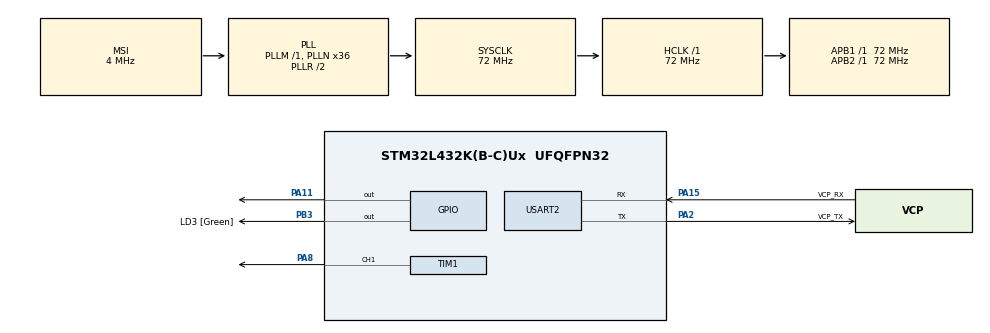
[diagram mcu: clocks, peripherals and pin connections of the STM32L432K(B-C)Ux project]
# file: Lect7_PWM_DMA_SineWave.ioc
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Dma.Request0=TIM1_CH1
Dma.TIM1_CH1.0.Direction=DMA_MEMORY_TO_PERIPH
Dma.TIM1_CH1.0.Instance=DMA1_Channel2
Dma.TIM1_CH1.0.MemDataAlignment=DMA_MDATAALIGN_WORD
Dma.TIM1_CH1.0.MemInc=DMA_MINC_ENABLE
Dma.TIM1_CH1.0.Mode=DMA_CIRCULAR
Dma.TIM1_CH1.0.PeriphDataAlignment=DMA_PDATAALIGN_WORD
Dma.TIM1_CH1.0.PeriphInc=DMA_PINC_DISABLE
Dma.TIM1_CH1.0.Priority=DMA_PRIORITY_HIGH
Mcu.Family=STM32L4
Mcu.Name=STM32L432K(B-C)Ux
Mcu.Package=UFQFPN32
NVIC.DMA1_Channel2_IRQn=true\:0\:0\:false\:false\:true\:false\:true
NVIC.PriorityGroup=NVIC_PRIORITYGROUP_4
PA0.GPIO_Label=MCO [High speed clock in]
PA0.Mode=HSE-External-Clock-Source-for-LittleOrca
PA0.Signal=RCC_CK_IN
PA11.Signal=GPIO_Output
PA13\ (JTMS-SWDIO).GPIO_Label=SWDIO
PA13\ (JTMS-SWDIO).Mode=Serial_Wire
PA13\ (JTMS-SWDIO).Signal=SYS_JTMS-SWDIO
PA14\ (JTCK-SWCLK).GPIO_Label=SWCLK
PA14\ (JTCK-SWCLK).Mode=Serial_Wire
PA14\ (JTCK-SWCLK).Signal=SYS_JTCK-SWCLK
PA15\ (JTDI).GPIO_Label=VCP_RX
PA15\ (JTDI).Mode=Asynchronous
PA15\ (JTDI).Signal=USART2_RX
PA2.GPIO_Label=VCP_TX
PA2.Mode=Asynchronous
PA2.Signal=USART2_TX
PA8.Signal=S_TIM1_CH1
PB3\ (JTDO-TRACESWO).GPIO_Label=LD3 [Green]
PB3\ (JTDO-TRACESWO).Signal=GPIO_Output
PC14-OSC32_IN\ (PC14).Mode=LSE-External-Oscillator
PC14-OSC32_IN\ (PC14).Signal=RCC_OSC32_IN
PC15-OSC32_OUT\ (PC15).Mode=LSE-External-Oscillator
PC15-OSC32_OUT\ (PC15).Signal=RCC_OSC32_OUT
ProjectManager.HeapSize=0x200
ProjectManager.StackSize=0x400
ProjectManager.TargetToolchain=STM32CubeIDE
RCC.AHBFreq_Value=72000000
RCC.APB1Freq_Value=72000000
RCC.APB1TimFreq_Value=72000000
RCC.APB2Freq_Value=72000000
RCC.APB2TimFreq_Value=72000000
RCC.CortexFreq_Value=72000000
RCC.HCLKFreq_Value=72000000
RCC.HSE_VALUE=8000000
RCC.HSI16_VALUE=16000000
RCC.HSI48_VALUE=48000000
RCC.HSI_VALUE=16000000
RCC.MSI_VALUE=4000000
RCC.PLLMUL=RCC_PLLMUL_4
RCC.PLLN=36
RCC.SYSCLKFreq_VALUE=72000000
RCC.SYSCLKSource=RCC_SYSCLKSOURCE_PLLCLK
RCC.VCOOutputFreq_Value=144000000
SH.S_TIM1_CH1.0=TIM1_CH1,PWM Generation1 CH1
TIM1.Channel-PWM\ Generation1\ CH1=TIM_CHANNEL_1
TIM1.Period=1023
TIM1.Pulse-PWM\ Generation1\ CH1=511
USART2.VirtualMode-Asynchronous=VM_ASYNC
VP_TIM1_VS_ClockSourceINT.Mode=Internal
board=NUCLEO-L432KC

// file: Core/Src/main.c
/* USER CODE BEGIN Header */
/**
  ******************************************************************************
  * @file           : main.c
  * @brief          : Main program body
  ******************************************************************************
  * @attention
  *
  * <h2><center>&copy; Copyright (c) 2020 STMicroelectronics.
  * All rights reserved.</center></h2>
  *
  * This software component is licensed by ST under BSD 3-Clause license,
  * the "License"; You may not use this file except in compliance with the
  * License. You may obtain a copy of the License at:
  *                        opensource.org/licenses/BSD-3-Clause
  *
  ******************************************************************************
  */
/* USER CODE END Header */
#include "main.h"

/* USER CODE BEGIN PD */
#define NS 128
/* USER CODE END PD */

TIM_HandleTypeDef htim1;
DMA_HandleTypeDef hdma_tim1_ch1;

UART_HandleTypeDef huart2;

/* USER CODE BEGIN PV */
uint32_t Wave_LUT[NS] = {
	512, 537, 562, 587, 612, 637, 661, 685, 709, 732, 754, 776, 798, 818, 838,
	857, 875, 893, 909, 925, 939, 952, 965, 976, 986, 995, 1002, 1009, 1014, 1018,
	1021, 1023, 1023, 1022, 1020, 1016, 1012, 1006, 999, 990, 981, 970, 959, 946, 932,
	917, 901, 884, 866, 848, 828, 808, 787, 765, 743, 720, 697, 673, 649, 624,
	600, 575, 549, 524, 499, 474, 448, 423, 399, 374, 350, 326, 303, 280, 258,
	236, 215, 195, 175, 157, 139, 122, 106, 91, 77, 64, 53, 42, 33, 24,
	17, 11, 7, 3, 1, 0, 0, 2, 5, 9, 14, 21, 28, 37, 47,
	58, 71, 84, 98, 114, 130, 148, 166, 185, 205, 225, 247, 269, 291, 314,
	338, 362, 386, 411, 436, 461, 486, 511
};

/* USER CODE END PV */

void SystemClock_Config(void);
static void MX_GPIO_Init(void);
static void MX_DMA_Init(void);
static void MX_USART2_UART_Init(void);
static void MX_TIM1_Init(void);

int main(void)
{

  /* MCU Configuration--------------------------------------------------------*/

  /* Reset of all peripherals, Initializes the Flash interface and the Systick. */
  HAL_Init();

  /* Configure the system clock */
  SystemClock_Config();

  /* Initialize all configured peripherals */
  MX_GPIO_Init();
  MX_DMA_Init();
  MX_USART2_UART_Init();
  MX_TIM1_Init();
  /* USER CODE BEGIN 2 */
//  HAL_TIM_PWM_Start(&htim1, TIM_CHANNEL_1);
  HAL_TIM_PWM_Start_DMA(&htim1,  TIM_CHANNEL_1, (uint32_t *)Wave_LUT,NS);

  /* USER CODE END 2 */

  /* Infinite loop */
  while (1)
  {

  }
}

void SystemClock_Config(void)
{
  RCC_OscInitTypeDef RCC_OscInitStruct = {0};
  RCC_ClkInitTypeDef RCC_ClkInitStruct = {0};
  RCC_PeriphCLKInitTypeDef PeriphClkInit = {0};

  /** Configure LSE Drive Capability
  */
  HAL_PWR_EnableBkUpAccess();
  __HAL_RCC_LSEDRIVE_CONFIG(RCC_LSEDRIVE_LOW);
  /** Initializes the RCC Oscillators according to the specified parameters
  * in the RCC_OscInitTypeDef structure.
  */
  RCC_OscInitStruct.OscillatorType = RCC_OSCILLATORTYPE_LSE|RCC_OSCILLATORTYPE_MSI;
  RCC_OscInitStruct.LSEState = RCC_LSE_ON;
  RCC_OscInitStruct.MSIState = RCC_MSI_ON;
  RCC_OscInitStruct.MSICalibrationValue = 0;
  RCC_OscInitStruct.MSIClockRange = RCC_MSIRANGE_6;
  RCC_OscInitStruct.PLL.PLLState = RCC_PLL_ON;
  RCC_OscInitStruct.PLL.PLLSource = RCC_PLLSOURCE_MSI;
  RCC_OscInitStruct.PLL.PLLM = 1;
  RCC_OscInitStruct.PLL.PLLN = 36;
  RCC_OscInitStruct.PLL.PLLP = RCC_PLLP_DIV7;
  RCC_OscInitStruct.PLL.PLLQ = RCC_PLLQ_DIV2;
  RCC_OscInitStruct.PLL.PLLR = RCC_PLLR_DIV2;
  if (HAL_RCC_OscConfig(&RCC_OscInitStruct) != HAL_OK)
  {
    Error_Handler();
  }
  /** Initializes the CPU, AHB and APB buses clocks
  */
  RCC_ClkInitStruct.ClockType = RCC_CLOCKTYPE_HCLK|RCC_CLOCKTYPE_SYSCLK
                              |RCC_CLOCKTYPE_PCLK1|RCC_CLOCKTYPE_PCLK2;
  RCC_ClkInitStruct.SYSCLKSource = RCC_SYSCLKSOURCE_PLLCLK;
  RCC_ClkInitStruct.AHBCLKDivider = RCC_SYSCLK_DIV1;
  RCC_ClkInitStruct.APB1CLKDivider = RCC_HCLK_DIV1;
  RCC_ClkInitStruct.APB2CLKDivider = RCC_HCLK_DIV1;

  if (HAL_RCC_ClockConfig(&RCC_ClkInitStruct, FLASH_LATENCY_4) != HAL_OK)
  {
    Error_Handler();
  }
  PeriphClkInit.PeriphClockSelection = RCC_PERIPHCLK_USART2;
  PeriphClkInit.Usart2ClockSelection = RCC_USART2CLKSOURCE_PCLK1;
  if (HAL_RCCEx_PeriphCLKConfig(&PeriphClkInit) != HAL_OK)
  {
    Error_Handler();
  }
  /** Configure the main internal regulator output voltage
  */
  if (HAL_PWREx_ControlVoltageScaling(PWR_REGULATOR_VOLTAGE_SCALE1) != HAL_OK)
  {
    Error_Handler();
  }
  /** Enable MSI Auto calibration
  */
  HAL_RCCEx_EnableMSIPLLMode();
}

static void MX_TIM1_Init(void)
{

  TIM_ClockConfigTypeDef sClockSourceConfig = {0};
  TIM_MasterConfigTypeDef sMasterConfig = {0};
  TIM_OC_InitTypeDef sConfigOC = {0};
  TIM_BreakDeadTimeConfigTypeDef sBreakDeadTimeConfig = {0};

  htim1.Instance = TIM1;
  htim1.Init.Prescaler = 0;
  htim1.Init.CounterMode = TIM_COUNTERMODE_UP;
  htim1.Init.Period = 1023;
  htim1.Init.ClockDivision = TIM_CLOCKDIVISION_DIV1;
  htim1.Init.RepetitionCounter = 0;
  htim1.Init.AutoReloadPreload = TIM_AUTORELOAD_PRELOAD_DISABLE;
  if (HAL_TIM_Base_Init(&htim1) != HAL_OK)
  {
    Error_Handler();
  }
  sClockSourceConfig.ClockSource = TIM_CLOCKSOURCE_INTERNAL;
  if (HAL_TIM_ConfigClockSource(&htim1, &sClockSourceConfig) != HAL_OK)
  {
    Error_Handler();
  }
  if (HAL_TIM_PWM_Init(&htim1) != HAL_OK)
  {
    Error_Handler();
  }
  sMasterConfig.MasterOutputTrigger = TIM_TRGO_RESET;
  sMasterConfig.MasterOutputTrigger2 = TIM_TRGO2_RESET;
  sMasterConfig.MasterSlaveMode = TIM_MASTERSLAVEMODE_DISABLE;
  if (HAL_TIMEx_MasterConfigSynchronization(&htim1, &sMasterConfig) != HAL_OK)
  {
    Error_Handler();
  }
  sConfigOC.OCMode = TIM_OCMODE_PWM1;
  sConfigOC.Pulse = 511;
  sConfigOC.OCPolarity = TIM_OCPOLARITY_HIGH;
  sConfigOC.OCNPolarity = TIM_OCNPOLARITY_HIGH;
  sConfigOC.OCFastMode = TIM_OCFAST_DISABLE;
  sConfigOC.OCIdleState = TIM_OCIDLESTATE_RESET;
  sConfigOC.OCNIdleState = TIM_OCNIDLESTATE_RESET;
  if (HAL_TIM_PWM_ConfigChannel(&htim1, &sConfigOC, TIM_CHANNEL_1) != HAL_OK)
  {
    Error_Handler();
  }
  sBreakDeadTimeConfig.OffStateRunMode = TIM_OSSR_DISABLE;
  sBreakDeadTimeConfig.OffStateIDLEMode = TIM_OSSI_DISABLE;
  sBreakDeadTimeConfig.LockLevel = TIM_LOCKLEVEL_OFF;
  sBreakDeadTimeConfig.DeadTime = 0;
  sBreakDeadTimeConfig.BreakState = TIM_BREAK_DISABLE;
  sBreakDeadTimeConfig.BreakPolarity = TIM_BREAKPOLARITY_HIGH;
  sBreakDeadTimeConfig.BreakFilter = 0;
  sBreakDeadTimeConfig.Break2State = TIM_BREAK2_DISABLE;
  sBreakDeadTimeConfig.Break2Polarity = TIM_BREAK2POLARITY_HIGH;
  sBreakDeadTimeConfig.Break2Filter = 0;
  sBreakDeadTimeConfig.AutomaticOutput = TIM_AUTOMATICOUTPUT_DISABLE;
  if (HAL_TIMEx_ConfigBreakDeadTime(&htim1, &sBreakDeadTimeConfig) != HAL_OK)
  {
    Error_Handler();
  }
  HAL_TIM_MspPostInit(&htim1);

}

static void MX_USART2_UART_Init(void)
{

  huart2.Instance = USART2;
  huart2.Init.BaudRate = 115200;
  huart2.Init.WordLength = UART_WORDLENGTH_8B;
  huart2.Init.StopBits = UART_STOPBITS_1;
  huart2.Init.Parity = UART_PARITY_NONE;
  huart2.Init.Mode = UART_MODE_TX_RX;
  huart2.Init.HwFlowCtl = UART_HWCONTROL_NONE;
  huart2.Init.OverSampling = UART_OVERSAMPLING_16;
  huart2.Init.OneBitSampling = UART_ONE_BIT_SAMPLE_DISABLE;
  huart2.AdvancedInit.AdvFeatureInit = UART_ADVFEATURE_NO_INIT;
  if (HAL_UART_Init(&huart2) != HAL_OK)
  {
    Error_Handler();
  }

}

static void MX_DMA_Init(void)
{

  /* DMA controller clock enable */
  __HAL_RCC_DMA1_CLK_ENABLE();

  /* DMA interrupt init */
  /* DMA1_Channel2_IRQn interrupt configuration */
  HAL_NVIC_SetPriority(DMA1_Channel2_IRQn, 0, 0);
  HAL_NVIC_EnableIRQ(DMA1_Channel2_IRQn);

}

static void MX_GPIO_Init(void)
{
  GPIO_InitTypeDef GPIO_InitStruct = {0};

  /* GPIO Ports Clock Enable */
  __HAL_RCC_GPIOC_CLK_ENABLE();
  __HAL_RCC_GPIOA_CLK_ENABLE();
  __HAL_RCC_GPIOB_CLK_ENABLE();

  /*Configure GPIO pin Output Level */
  HAL_GPIO_WritePin(GPIOA, GPIO_PIN_11, GPIO_PIN_RESET);

  /*Configure GPIO pin Output Level */
  HAL_GPIO_WritePin(LD3_GPIO_Port, LD3_Pin, GPIO_PIN_RESET);

  /*Configure GPIO pin : PA11 */
  GPIO_InitStruct.Pin = GPIO_PIN_11;
  GPIO_InitStruct.Mode = GPIO_MODE_OUTPUT_PP;
  GPIO_InitStruct.Pull = GPIO_NOPULL;
  GPIO_InitStruct.Speed = GPIO_SPEED_FREQ_LOW;
  HAL_GPIO_Init(GPIOA, &GPIO_InitStruct);

  /*Configure GPIO pin : LD3_Pin */
  GPIO_InitStruct.Pin = LD3_Pin;
  GPIO_InitStruct.Mode = GPIO_MODE_OUTPUT_PP;
  GPIO_InitStruct.Pull = GPIO_NOPULL;
  GPIO_InitStruct.Speed = GPIO_SPEED_FREQ_LOW;
  HAL_GPIO_Init(LD3_GPIO_Port, &GPIO_InitStruct);

}

/* USER CODE BEGIN 4 */
void HAL_TIM_PWM_PulseFinishedHalfCpltCallback(TIM_HandleTypeDef *htim)
{
	HAL_GPIO_WritePin(GPIOA, GPIO_PIN_11, GPIO_PIN_RESET);
}

void HAL_TIM_PWM_PulseFinishedCallback(TIM_HandleTypeDef *htim)
{
	HAL_GPIO_WritePin(GPIOA, GPIO_PIN_11, GPIO_PIN_SET);
}

/* USER CODE END 4 */

void Error_Handler(void)
{
}

/************************ (C) COPYRIGHT STMicroelectronics *****END OF FILE****/
